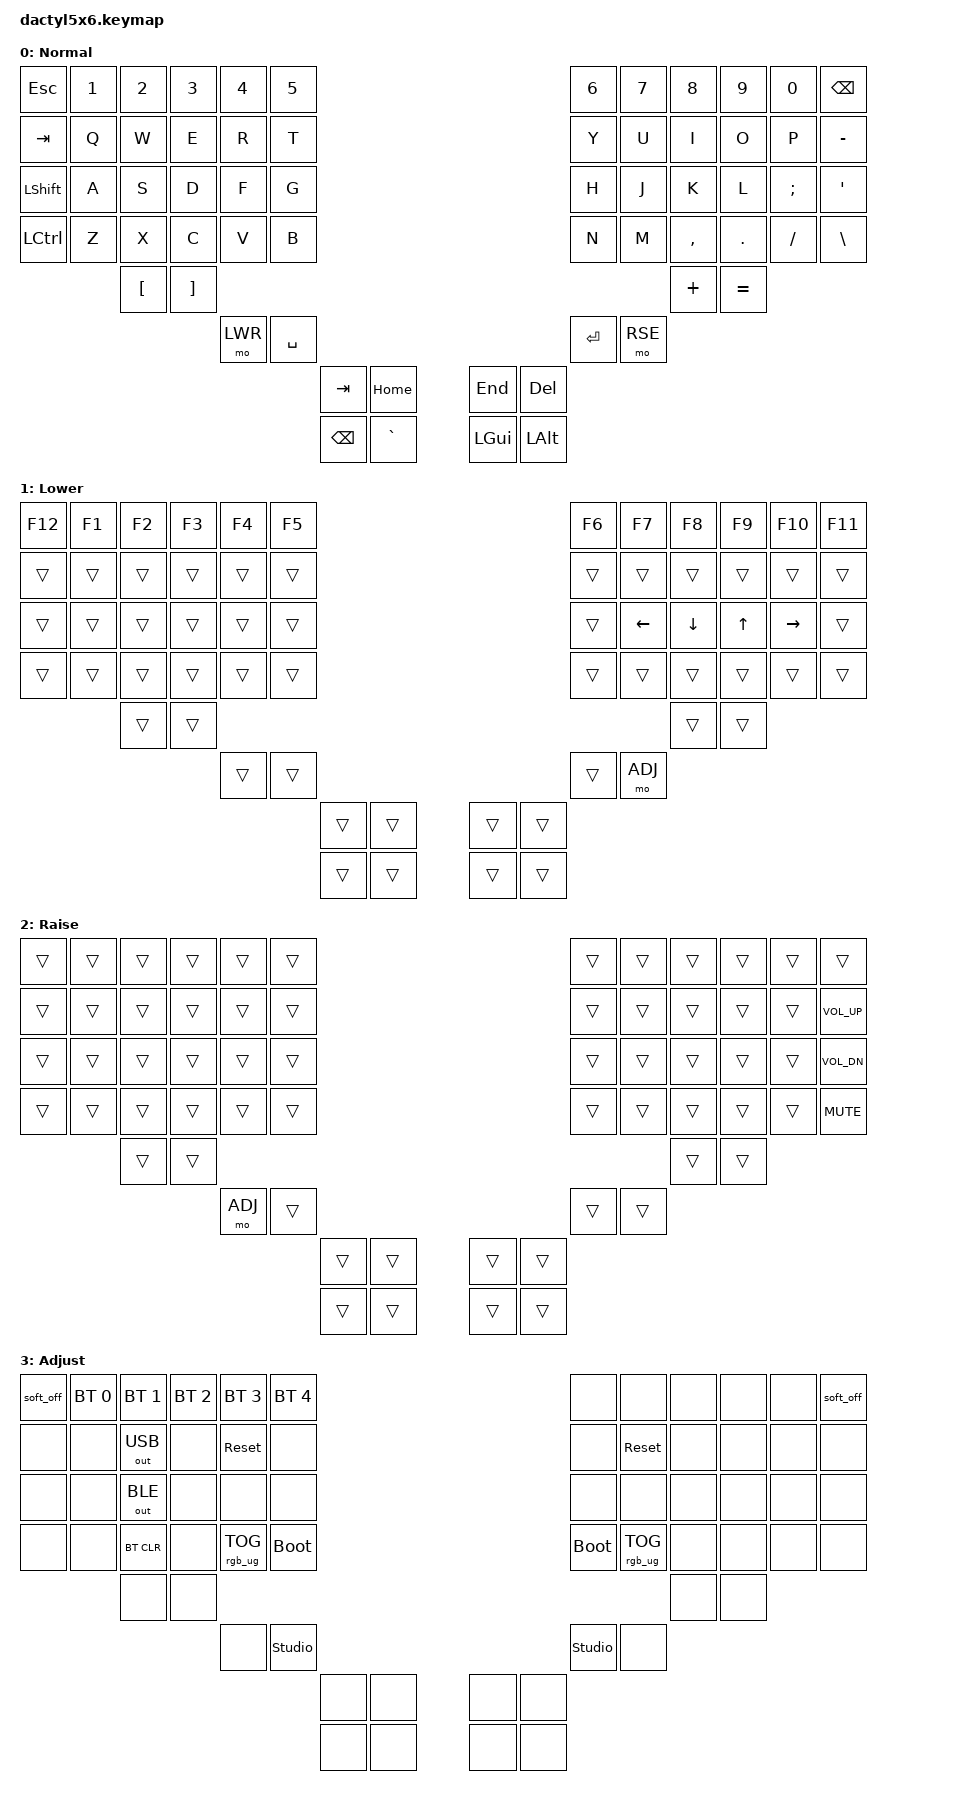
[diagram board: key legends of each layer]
#include <behaviors.dtsi>
#include <dt-bindings/zmk/keys.h>
#include <dt-bindings/zmk/bt.h>
#include <dt-bindings/zmk/outputs.h>
#include <dt-bindings/zmk/rgb.h>

#define DEFAULT 0
#define LWR 1
#define RSE 2
#define ADJ 3

/ {
	keymap {
		compatible = "zmk,keymap";

		default_layer {
									display-name = "Normal";
                                    bindings = <
                                        &kp ESC   &kp N1 &kp N2 &kp N3 &kp N4 &kp N5              &kp N6 &kp N7 &kp N8    &kp N9  &kp N0   &kp BSPC
                                        &kp TAB   &kp Q  &kp W  &kp E  &kp R  &kp T               &kp Y  &kp U  &kp I     &kp O   &kp P    &kp MINUS
                                        &kp LSHFT &kp A  &kp S  &kp D  &kp F  &kp G               &kp H  &kp J  &kp K     &kp L   &kp SEMI &kp SQT
                                        &kp LCTRL &kp Z  &kp X  &kp C  &kp V  &kp B               &kp N  &kp M  &kp COMMA &kp DOT &kp FSLH &kp BSLH
                                                         &kp LBKT &kp RBKT                                      &kp PLUS &kp EQUAL
                                                                    &mo LWR  &kp SPACE            &kp RET  &mo RSE
                                                                    &kp TAB  &kp HOME             &kp END  &kp DEL
                                                                    &kp BSPC &kp GRAVE            &kp LGUI &kp LALT
                                    >;
                                };

                                lower_layer {
                                    display-name = "Lower";
                                    bindings = <
                                        &kp F12 &kp F1 &kp F2 &kp F3 &kp F4 &kp F5                &kp F6 &kp F7   &kp F8   &kp F9 &kp F10   &kp F11
                                        &trans  &trans &trans &trans &trans &trans                &trans &trans   &trans   &trans &trans    &trans
                                        &trans  &trans &trans &trans &trans &trans                &trans &kp LEFT &kp DOWN &kp UP &kp RIGHT &trans
                                        &trans  &trans &trans &trans &trans &trans                &trans &trans   &trans   &trans &trans    &trans
                                                       &trans &trans                                              &trans &trans
                                                                     &trans &trans                &trans &mo ADJ
                                                                     &trans &trans                &trans &trans
                                                                     &trans &trans                &trans &trans
                                    >;
                                };

                                raise_layer {
                                    display-name = "Raise";
                                    bindings = <
                                        &trans  &trans &trans &trans &trans &trans                &trans &trans &trans &trans &trans &trans
                                        &trans  &trans &trans &trans &trans &trans                &trans &trans &trans &trans &trans &kp K_VOL_UP
                                        &trans  &trans &trans &trans &trans &trans                &trans &trans &trans &trans &trans &kp K_VOL_DN
                                        &trans  &trans &trans &trans &trans &trans                &trans &trans &trans &trans &trans &kp K_MUTE
                                                       &trans &trans                                            &trans &trans
                                                                     &mo ADJ &trans               &trans &trans
                                                                     &trans  &trans               &trans &trans
                                                                     &trans  &trans               &trans &trans
                                    >;
                                };

                                adjust_layer {
                                    display-name = "Adjust";
                                    bindings = <
                                        &soft_off &bt BT_SEL 0 &bt BT_SEL 1 &bt BT_SEL 2 &bt BT_SEL 3     &bt BT_SEL 4         &none           &none            &none &none &none &soft_off
                                        &none     &none        &out OUT_USB &none        &sys_reset       &none                &none           &sys_reset       &none &none &none &none
                                        &none     &none        &out OUT_BLE &none        &none            &none                &none           &none            &none &none &none &none
                                        &none     &none        &bt BT_CLR   &none        &rgb_ug RGB_TOG  &bootloader          &bootloader     &rgb_ug RGB_TOG  &none &none &none &none
                                                               &none        &none                                                                               &none &none
                                                                                         &none            &studio_unlock       &studio_unlock  &none
                                                                                         &none            &none                &none           &none
                                                                                         &none            &none                &none           &none
                                    >;
                                };
	};
};
